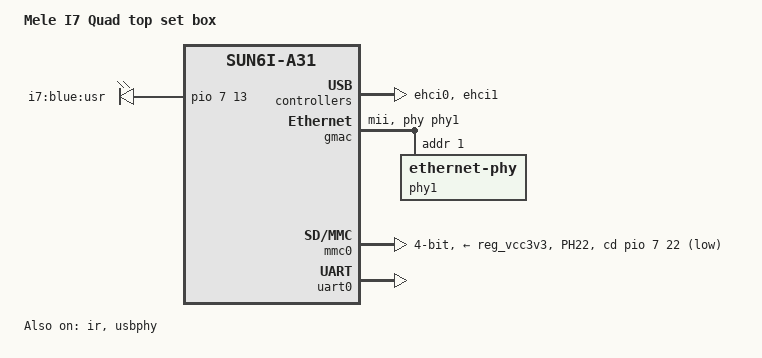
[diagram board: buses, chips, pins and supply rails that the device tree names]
/*
 * Copyright 2015 Marcus Cooper <codekipper@gmail.com>
 *
 * This file is dual-licensed: you can use it either under the terms
 * of the GPL or the X11 license, at your option. Note that this dual
 * licensing only applies to this file, and not this project as a
 * whole.
 *
 *  a) This file is free software; you can redistribute it and/or
 *     modify it under the terms of the GNU General Public License as
 *     published by the Free Software Foundation; either version 2 of the
 *     License, or (at your option) any later version.
 *
 *     This file is distributed in the hope that it will be useful,
 *     but WITHOUT ANY WARRANTY; without even the implied warranty of
 *     MERCHANTABILITY or FITNESS FOR A PARTICULAR PURPOSE.  See the
 *     GNU General Public License for more details.
 *
 * Or, alternatively,
 *
 *  b) Permission is hereby granted, free of charge, to any person
 *     obtaining a copy of this software and associated documentation
 *     files (the "Software"), to deal in the Software without
 *     restriction, including without limitation the rights to use,
 *     copy, modify, merge, publish, distribute, sublicense, and/or
 *     sell copies of the Software, and to permit persons to whom the
 *     Software is furnished to do so, subject to the following
 *     conditions:
 *
 *     The above copyright notice and this permission notice shall be
 *     included in all copies or substantial portions of the Software.
 *
 *     THE SOFTWARE IS PROVIDED "AS IS", WITHOUT WARRANTY OF ANY KIND,
 *     EXPRESS OR IMPLIED, INCLUDING BUT NOT LIMITED TO THE WARRANTIES
 *     OF MERCHANTABILITY, FITNESS FOR A PARTICULAR PURPOSE AND
 *     NONINFRINGEMENT. IN NO EVENT SHALL THE AUTHORS OR COPYRIGHT
 *     HOLDERS BE LIABLE FOR ANY CLAIM, DAMAGES OR OTHER LIABILITY,
 *     WHETHER IN AN ACTION OF CONTRACT, TORT OR OTHERWISE, ARISING
 *     FROM, OUT OF OR IN CONNECTION WITH THE SOFTWARE OR THE USE OR
 *     OTHER DEALINGS IN THE SOFTWARE.
 */

/dts-v1/;
#include "sun6i-a31.dtsi"
#include "sunxi-common-regulators.dtsi"

#include <dt-bindings/gpio/gpio.h>
#include <dt-bindings/pinctrl/sun4i-a10.h>

/ {
	model = "Mele I7 Quad top set box";
	compatible = "mele,i7", "allwinner,sun6i-a31";

	aliases {
		serial0 = &uart0;
	};

	chosen {
		stdout-path = "serial0:115200n8";
	};

	leds {
		compatible = "gpio-leds";
		pinctrl-names = "default";
		pinctrl-0 = <&led_pins_i7>;

		blue {
			label = "i7:blue:usr";
			gpios = <&pio 7 13 GPIO_ACTIVE_HIGH>;
		};
	};
};

&ehci0 {
	status = "okay";
};

&ehci1 {
	status = "okay";
};

&gmac {
	pinctrl-names = "default";
	pinctrl-0 = <&gmac_pins_mii_a>;
	phy = <&phy1>;
	phy-mode = "mii";
	status = "okay";

	phy1: ethernet-phy@1 {
		reg = <1>;
	};
};

&ir {
	pinctrl-names = "default";
	pinctrl-0 = <&ir_pins_a>;
	status = "okay";
};

&mmc0 {
	pinctrl-names = "default";
	pinctrl-0 = <&mmc0_pins_a>, <&mmc0_cd_pin_i7>;
	vmmc-supply = <&reg_vcc3v3>;
	bus-width = <4>;
	cd-gpios = <&pio 7 22 GPIO_ACTIVE_HIGH>; /* PH22 */
	cd-inverted;
	status = "okay";
};

&pio {
	led_pins_i7: led_pins@0 {
		allwinner,pins = "PH13";
		allwinner,function = "gpio_out";
		allwinner,drive = <SUN4I_PINCTRL_10_MA>;
		allwinner,pull = <SUN4I_PINCTRL_NO_PULL>;
	};

	mmc0_cd_pin_i7: mmc0_cd_pin@0 {
		allwinner,pins = "PH22";
		allwinner,function = "gpio_in";
		allwinner,drive = <SUN4I_PINCTRL_10_MA>;
		allwinner,pull = <SUN4I_PINCTRL_PULL_UP>;
	};

	usb1_vbus_pin_i7: usb1_vbus_pin@0 {
		allwinner,pins = "PC27";
		allwinner,function = "gpio_out";
		allwinner,drive = <SUN4I_PINCTRL_10_MA>;
		allwinner,pull = <SUN4I_PINCTRL_NO_PULL>;
	};
};

&reg_usb1_vbus {
	pinctrl-names = "default";
	pinctrl-0 = <&usb1_vbus_pin_i7>;
	gpio = <&pio 2 27 GPIO_ACTIVE_HIGH>;
	status = "okay";
};

&uart0 {
	pinctrl-names = "default";
	pinctrl-0 = <&uart0_pins_a>;
	status = "okay";
};

&usbphy {
	usb1_vbus-supply = <&reg_usb1_vbus>;
	status = "okay";
};
